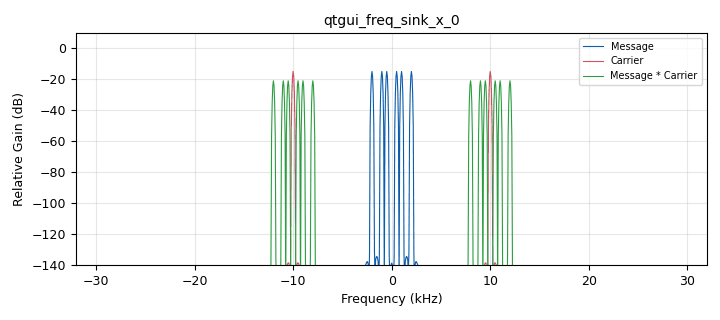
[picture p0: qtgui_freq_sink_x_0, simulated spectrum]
options:
  parameters:
    author: Dhrubjun
    generate_options: qt_gui
    id: exp2
    output_language: python
    title: Multitone Translation
  states: {}

blocks:
- name: samp_rate
  id: variable
  parameters:
    value: '64000'
  states: {}
- name: analog_sig_source_x_0
  id: analog_sig_source_x
  parameters:
    amp: '1'
    freq: '2000'
    offset: '0'
    phase: '0'
    samp_rate: samp_rate
    type: float
    waveform: analog.GR_COS_WAVE
  states: {}
- name: analog_sig_source_x_0_0
  id: analog_sig_source_x
  parameters:
    amp: '1'
    freq: '10000'
    offset: '0'
    phase: '0'
    samp_rate: samp_rate
    type: float
    waveform: analog.GR_COS_WAVE
  states: {}
- name: analog_sig_source_x_0_1
  id: analog_sig_source_x
  parameters:
    amp: '1'
    freq: '1000'
    offset: '0'
    phase: '0'
    samp_rate: samp_rate
    type: float
    waveform: analog.GR_COS_WAVE
  states: {}
- name: analog_sig_source_x_0_1_0
  id: analog_sig_source_x
  parameters:
    amp: '1'
    freq: '500'
    offset: '0'
    phase: '0'
    samp_rate: samp_rate
    type: float
    waveform: analog.GR_COS_WAVE
  states: {}
- name: blocks_add_xx_0
  id: blocks_add_xx
  parameters:
    num_inputs: '3'
    type: float
  states: {}
- name: blocks_multiply_xx_0
  id: blocks_multiply_xx
  parameters:
    type: float
  states: {}
- name: blocks_throttle2_0
  id: blocks_throttle2
  parameters:
    samples_per_second: samp_rate
    type: float
  states: {}
- name: qtgui_freq_sink_x_0
  id: qtgui_freq_sink_x
  parameters:
    bw: samp_rate
    fc: '0'
    fftsize: '1024'
    label1: Message
    label2: Carrier
    label3: Message * Carrier
    nconnections: '3'
    type: float
  states: {}

connections:
- [analog_sig_source_x_0, '0', blocks_add_xx_0, '2']
- [analog_sig_source_x_0_0, '0', blocks_multiply_xx_0, '1']
- [analog_sig_source_x_0_0, '0', qtgui_freq_sink_x_0, '1']
- [analog_sig_source_x_0_1, '0', blocks_add_xx_0, '1']
- [analog_sig_source_x_0_1_0, '0', blocks_add_xx_0, '0']
- [blocks_add_xx_0, '0', blocks_multiply_xx_0, '0']
- [blocks_add_xx_0, '0', qtgui_freq_sink_x_0, '0']
- [blocks_multiply_xx_0, '0', blocks_throttle2_0, '0']
- [blocks_throttle2_0, '0', qtgui_freq_sink_x_0, '2']

metadata:
  file_format: 1
  grc_version: 3.10.12.0
